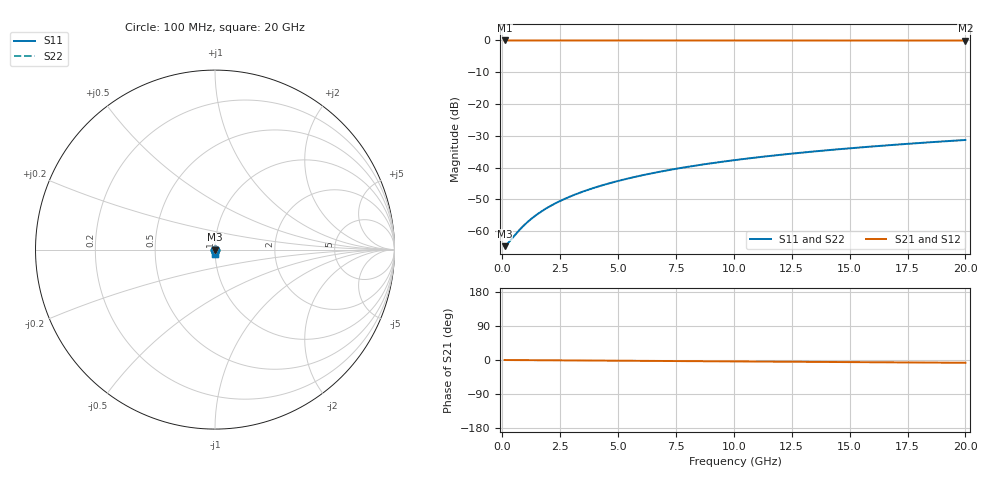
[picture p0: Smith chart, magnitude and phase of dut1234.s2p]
! Touchstone file exported from HFSS 2026.1.0
!  File:  C:/ffzhzh/LocalFiles/Ansys_Project_Files/temp_train_TSV_1234_1783193339_55132.aedt
!  Generated:  03:30:43 AM Jul  5, 2026
!  Design:  TSV
!  Project:  temp_train_TSV_1234_1783193339_55132
! Variables:
!  h_bsmrdl = 2um
!  h_ox = 20um
!  h_rdl = 5um
!  h_sub = 79.06um
!  h_tmrdl = 5um
!  h_tsv = 79.06um
!  h_via = 3um
!  l_bsmrdl = 300um
!  l_sub = 408.18um
!  l_tmrdl = 200um
!  m_sub = 200um
!  pitch = 13.54um
!  r_tsv = 4.09um
!  s_tmrdl = 10um
!  w_bsmrdl = 18um
!  w_sub = 500um
!  w_tmrdl = 12um
!  x_tsv_center1 = 206um
!  x_tsv_center2 = 524um
!  x_tsv_center3 = 736um
!  x_tsv_center4 = 1054um
!  x_tsv_center5 = 1266um
!  x_tsv_center6 = 1584um
# GHz S MA R 50.000000
! Terminal data exported
! Port[1] = TSV1_1_T1
! Port[2] = TSV1_1_T2
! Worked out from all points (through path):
!   200 points, 100 MHz to 20 GHz, reference 50 ohm
!   highest |S21| = -0.01 dB at 100 MHz (marker M1); lowest = 0.0 dB at 20 GHz (marker M2)
!   group delay of S21, straight-line fit = 1.02 ps
!   lowest |S11| = -64.7 dB at 100 MHz (marker M3), VSWR 1.00, Z = 50.1 - j0.00699 ohm
!   |S11| at or under -10 dB: start of sweep to end of sweep
!   |S22| runs from -64.7 to -31.3 dB; largest |S21 - S12| = 6.5e-15
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0.1  0.0005827 -6.9  0.9994 -0.0  0.9994 -0.0  0.0005827 -6.9
! Gamma 0 0 0 0
! Port Impedance 50 0 50 0
0.2  0.0006253 -14.3  0.9994 -0.1  0.9994 -0.1  0.0006253 -14.3
0.7  0.00101 -45.2  0.9993 -0.3  0.9993 -0.3  0.00101 -45.2
0.9  0.001203 -52.4  0.9993 -0.3  0.9993 -0.3  0.001203 -52.4
1.2  0.001512 -59.7  0.9992 -0.5  0.9992 -0.5  0.001512 -59.7
1.4  0.001728 -63.1  0.9992 -0.5  0.9992 -0.5  0.001728 -63.1
1.6  0.001949 -65.7  0.9992 -0.6  0.9992 -0.6  0.001949 -65.7
2  0.002404 -69.4  0.9991 -0.8  0.9991 -0.8  0.002404 -69.4
2.4  0.002874 -71.9  0.9991 -0.9  0.9991 -0.9  0.002874 -71.9
2.9  0.003478 -74.1  0.999 -1.1  0.999 -1.1  0.003478 -74.1
3.5  0.004225 -75.9  0.9989 -1.3  0.9989 -1.3  0.004225 -75.9
4.2  0.005123 -77.5  0.9987 -1.6  0.9987 -1.6  0.005123 -77.5
5  0.006177 -78.8  0.9986 -1.9  0.9986 -1.9  0.006177 -78.8
5.9  0.007389 -80.1  0.9984 -2.2  0.9984 -2.2  0.007389 -80.1
6.8  0.008622 -81.2  0.9983 -2.6  0.9983 -2.6  0.008622 -81.2
8.3  0.01071 -82.9  0.998 -3.1  0.998 -3.1  0.01071 -82.9
10.1  0.01323 -84.6  0.9978 -3.8  0.9978 -3.8  0.01323 -84.6
11.7  0.01548 -85.9  0.9976 -4.3  0.9976 -4.3  0.01548 -85.9
13.4  0.01788 -87.1  0.9974 -5.0  0.9974 -5.0  0.01788 -87.1
15  0.02014 -88.2  0.9972 -5.5  0.9972 -5.5  0.02014 -88.2
16.7  0.02255 -89.2  0.997 -6.2  0.997 -6.2  0.02255 -89.2
20  0.02724 -91.0  0.9966 -7.4  0.9966 -7.4  0.02724 -91.1
